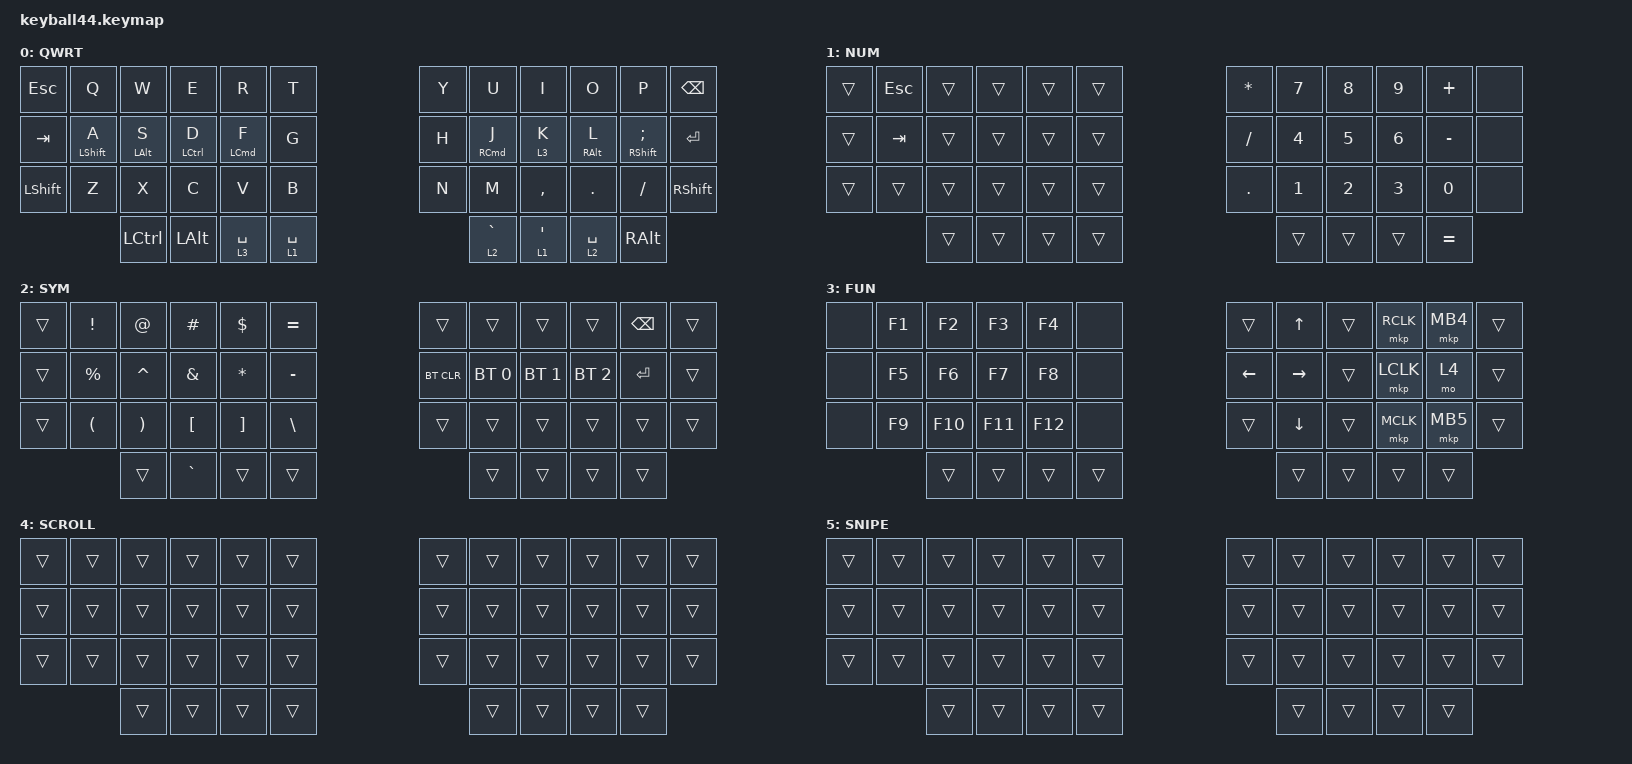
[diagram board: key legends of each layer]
#define DEFAULT 0
#define NUM     1
#define SYM     2
#define FUN     3
#define SCROLL  4
#define SNIPE   5

#include <behaviors/mouse_keys.dtsi>
#include <behaviors.dtsi>
#include <dt-bindings/zmk/bt.h>
#include <dt-bindings/zmk/keys.h>
#include <dt-bindings/zmk/mouse.h>

&lt {
    tapping-term-ms = <200>;
    flavor = "balanced";
    quick-tap-ms = <150>;
};

&mt {
    tapping-term-ms = <200>;
    flavor = "balanced";
    quick-tap-ms = <150>;
};

&caps_word { continue-list = <UNDERSCORE MINUS>; };

/ {
    // custom shift using mod-morph 

    behaviors {
        cmqus: comma_question {
            compatible = "zmk,behavior-mod-morph";
            label = "COMMA_QUESTION";
            #binding-cells = <0>;
            bindings = <&kp COMMA>, <&kp QUESTION>;

            mods = <(MOD_LSFT|MOD_RSFT)>;
        };

        dtsmi: dot_semi {
            compatible = "zmk,behavior-mod-morph";
            label = "DOT_SEMI";
            #binding-cells = <0>;
            bindings = <&kp DOT>, <&kp SEMI>;

            mods = <(MOD_LSFT|MOD_RSFT)>;
        };
    };

    keymap {
        compatible = "zmk,keymap";

        default_layer {
            label = "QWRT";
            bindings = <
&kp ESC     &kp Q         &kp W       &kp E        &kp R        &kp T                                               &kp Y        &kp U       &kp I      &kp O       &kp P            &kp BACKSPACE
&kp TAB     &mt LSHIFT A  &mt LALT S  &mt LCTRL D  &mt LCMD F   &kp G                                               &kp H        &mt RCMD J  &lt 3 K    &mt RALT L  &mt RSHIFT SEMI  &kp RETURN
&kp LSHIFT  &kp Z         &kp X       &kp C        &kp V        &kp B                                               &kp N        &kp M       &kp COMMA  &kp DOT     &kp SLASH        &kp RSHIFT
                          &kp LCTRL   &kp LALT     &lt 3 SPACE  &lt 1 SPACE  &lt 2 GRAVE        &lt 1 SINGLE_QUOTE  &lt 2 SPACE                                     &kp RIGHT_ALT
            >;
        };

        number_layer {
            label = "NUM";
            bindings = <
&trans  &kp ESC  &trans  &trans  &trans  &trans                        &kp ASTERISK  &kp NUMBER_7  &kp NUMBER_8  &kp NUMBER_9  &kp PLUS      &none
&trans  &kp TAB  &trans  &trans  &trans  &trans                        &kp SLASH     &kp NUMBER_4  &kp NUMBER_5  &kp NUMBER_6  &kp MINUS     &none
&trans  &trans   &trans  &trans  &trans  &trans                        &kp DOT       &kp NUMBER_1  &kp NUMBER_2  &kp NUMBER_3  &kp NUMBER_0  &none
                 &trans  &trans  &trans  &trans  &trans        &trans  &trans                                                  &kp EQUAL
            >;
        };

        symbol_layer {
            label = "SYM";
            bindings = <
&trans  &kp EXCLAMATION       &kp AT_SIGN            &kp HASH          &kp DOLLAR         &kp EQUAL                               &trans      &trans        &trans        &trans        &kp BACKSPACE  &trans
&trans  &kp PERCENT           &kp CARET              &kp AMPERSAND     &kp ASTERISK       &kp MINUS                               &bt BT_CLR  &bt BT_SEL 0  &bt BT_SEL 1  &bt BT_SEL 2  &kp RETURN     &trans
&trans  &kp LEFT_PARENTHESIS  &kp RIGHT_PARENTHESIS  &kp LEFT_BRACKET  &kp RIGHT_BRACKET  &kp BACKSLASH                           &trans      &trans        &trans        &trans        &trans         &trans
                              &trans                 &kp GRAVE         &trans             &trans         &trans           &trans  &trans                                  &trans
            >;
        };

        function_layer {
            label = "FUN";
            bindings = <
&none  &kp F1   &kp F2   &kp F3   &kp F4   &none                         &trans          &kp UP_ARROW     &trans  &mkp RCLK  &mkp MB4  &trans
&none  &kp F5   &kp F6   &kp F7   &kp F8   &none                         &kp LEFT_ARROW  &kp RIGHT_ARROW  &trans  &mkp LCLK  &mo 4     &trans
&none  &kp F9   &kp F10  &kp F11  &kp F12  &none                         &trans          &kp DOWN_ARROW   &trans  &mkp MCLK  &mkp MB5  &trans
                &trans   &trans   &trans   &trans  &trans        &trans  &trans                                              &trans
            >;
        };

        scroll_layer {
            label = "SCROLL";
            bindings = <
&trans  &trans  &trans  &trans  &trans  &trans              &trans  &trans  &trans  &trans  &trans  &trans
&trans  &trans  &trans  &trans  &trans  &trans              &trans  &trans  &trans  &trans  &trans  &trans
&trans  &trans  &trans  &trans  &trans  &trans              &trans  &trans  &trans  &trans  &trans  &trans
&trans  &trans  &trans  &trans  &trans              &trans  &trans                          &trans
            >;
        };

        snipe_layer {
            label = "SNIPE";
            bindings = <
&trans  &trans  &trans  &trans  &trans  &trans              &trans  &trans  &trans  &trans  &trans  &trans
&trans  &trans  &trans  &trans  &trans  &trans              &trans  &trans  &trans  &trans  &trans  &trans
&trans  &trans  &trans  &trans  &trans  &trans              &trans  &trans  &trans  &trans  &trans  &trans
&trans  &trans  &trans  &trans  &trans              &trans  &trans                          &trans
            >;
        };
    };
};
